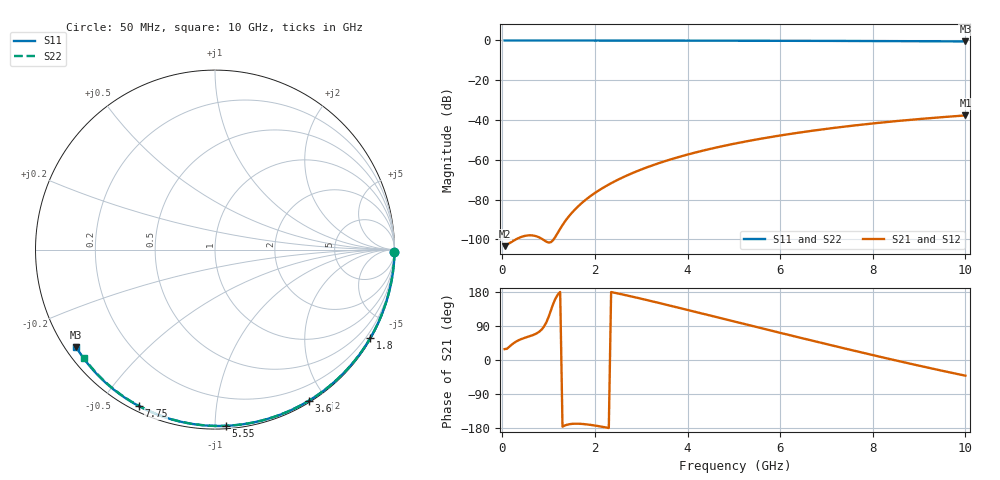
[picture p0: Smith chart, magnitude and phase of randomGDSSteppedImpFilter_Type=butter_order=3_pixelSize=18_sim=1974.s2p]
! freq	dB(S11)	phase(S11)	dB(S12)	phase(S12)
!  dB(S21)	phase(S21)	dB(S22)	phase(S22)
!S-par simulation data
#  GHz  S  DB  R 50
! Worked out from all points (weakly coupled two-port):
!   200 points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, 50 MHz to 10 GHz, reference 50 ohm
!   highest |S21| = -37.70 dB at 10 GHz (marker M1); lowest = -103.4 dB at 50 MHz (marker M2)
!   lowest |S11| = -0.5 dB at 10 GHz (marker M3), VSWR 35.50, Z = 1.55 - j15.8 ohm
!   |S11| at or under -10 dB: nowhere
!   |S22| runs from -0.5 to 0.0 dB; largest |S21 - S12| = 0
!   S11 on the Smith chart (normalised r, x): 50 MHz: open; 1.8 GHz: 0.03, -3.76; 3.6 GHz: 0.02, -1.80; 5.55 GHz: 0.02, -1.06; 7.75 GHz: 0.02, -0.62; 10 GHz: 0.03, -0.32
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0.05  -0.00 -0.8  -103.45 28.7  -103.45 28.7  -0.00 -0.8
0.45  -0.01 -7.6  -98.50 57.0  -98.50 57.0  -0.01 -7.3
0.85  -0.02 -14.2  -99.69 80.4  -99.69 80.4  -0.02 -13.8
1.3  -0.03 -21.6  -92.84 -175.9  -92.84 -175.9  -0.03 -20.9
1.75  -0.04 -29.0  -81.08 -169.0  -81.08 -169.0  -0.04 -28.1
1.8  -0.04 -29.8  -80.12 -169.6  -80.12 -169.6  -0.04 -28.8
2  -0.04 -33.0  -76.69 -172.9  -76.69 -172.9  -0.04 -32.0
2.15  -0.05 -35.4  -74.46 -176.0  -74.46 -176.0  -0.04 -34.3
2.5  -0.05 -41.0  -69.99 175.5  -69.99 175.5  -0.05 -39.7
2.9  -0.06 -47.3  -65.82 164.6  -65.82 164.6  -0.06 -45.8
3.4  -0.07 -55.0  -61.55 150.1  -61.55 150.1  -0.07 -53.3
3.6  -0.08 -58.1  -60.06 144.1  -60.06 144.1  -0.08 -56.3
4.3  -0.10 -68.6  -55.59 123.0  -55.59 123.0  -0.09 -66.5
5.05  -0.12 -79.5  -51.73 100.3  -51.73 100.3  -0.12 -77.0
5.55  -0.14 -86.5  -49.55 85.2  -49.55 85.2  -0.14 -83.9
6.1  -0.17 -94.1  -47.42 68.7  -47.42 68.7  -0.16 -91.3
6.7  -0.20 -102.2  -45.38 50.8  -45.38 50.8  -0.19 -99.2
7.2  -0.23 -108.8  -43.86 36.1  -43.86 36.1  -0.22 -105.6
7.75  -0.27 -116.0  -42.36 20.1  -42.36 20.1  -0.26 -112.6
8.35  -0.32 -123.8  -40.91 3.0  -40.91 3.0  -0.31 -120.1
9.2  -0.40 -134.6  -39.13 -20.5  -39.13 -20.5  -0.39 -130.5
10  -0.49 -144.9  -37.70 -41.4  -37.70 -41.4  -0.47 -140.3
